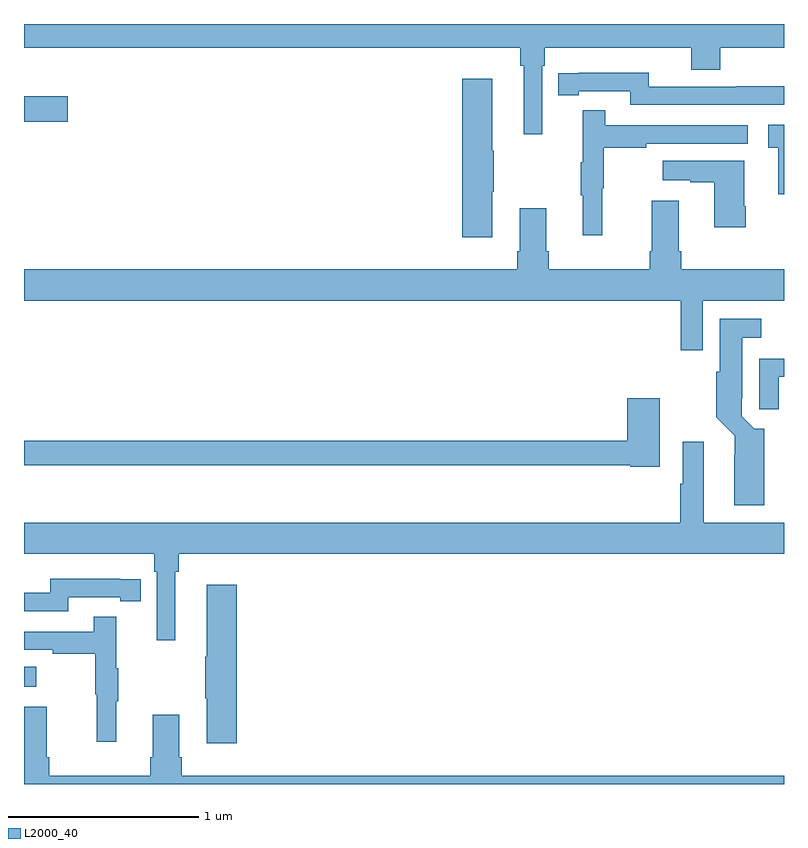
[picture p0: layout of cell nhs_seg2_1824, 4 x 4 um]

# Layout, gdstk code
import gdstk
lib = gdstk.Library(unit=1e-6, precision=1e-09)
def R(c, l, rs):  # rectangles x0, y0, x1, y1
    for r in rs: c.add(gdstk.rectangle(r[:2], r[2:], *l))
def P(c, l, *ps):  # polygons
    for p in ps: c.add(gdstk.Polygon(p, *l))
L2000_40 = (2000, 40)

nhs_seg2_1824 = lib.new_cell('nhs_seg2_1824')
R(nhs_seg2_1824, L2000_40, [(207,604.313,207.064,604.417), (207,607.286,207.229,607.42)])
P(nhs_seg2_1824, L2000_40, [(209.727,607.58),(209.741,607.58),(209.741,607.676),(210.512,607.676),(210.512,607.559),(210.665,607.559),(210.665,607.676),(211,607.676),(211,607.8),(207,607.8),(207,607.676),(209.611,607.676),(209.611,607.58),(209.63,607.58),(209.63,607.221),(209.727,607.221)],
  [(211,607.472),(210.748,607.472),(210.748,607.47),(210.288,607.47),(210.288,607.543),(209.92,607.543),(209.92,607.542),(209.812,607.542),(209.812,607.426),(209.92,607.426),(209.92,607.446),(210.192,607.446),(210.192,607.374),(211,607.374)],
  [(209.464,606.916),(209.472,606.916),(209.472,607.133),(209.464,607.133),(209.464,607.513),(209.306,607.513),(209.306,606.678),(209.464,606.678)],
  [(210.044,606.936),(210.052,606.936),(210.052,607.15),(210.275,607.15),(210.275,607.17),(210.808,607.17),(210.808,607.266),(210.059,607.266),(210.059,607.345),(209.942,607.345),(209.942,607.073),(209.931,607.073),(209.931,606.899),(209.942,606.899),(209.942,606.687),(210.044,606.687)],
  [(211,607.27),(210.918,607.27),(210.918,607.149),(210.971,607.149),(210.971,606.903),(211,606.903)],
  [(210.798,606.841),(210.79,606.841),(210.79,607.081),(210.363,607.081),(210.363,606.977),(210.506,606.977),(210.506,606.967),(210.632,606.967),(210.632,606.729),(210.798,606.729)],
  [(210.573,606.344),(211,606.344),(211,606.508),(210.458,606.508),(210.458,606.604),(210.445,606.604),(210.445,606.871),(210.305,606.871),(210.305,606.604),(210.293,606.604),(210.293,606.508),(209.762,606.508),(209.762,606.604),(209.749,606.604),(209.749,606.829),(209.609,606.829),(209.609,606.604),(209.597,606.604),(209.597,606.508),(207,606.508),(207,606.344),(210.457,606.344),(210.457,606.084),(210.573,606.084)],
  [(210.895,605.67),(210.843,605.67),(210.777,605.736),(210.777,605.83),(210.781,605.83),(210.781,606.149),(210.88,606.149),(210.88,606.25),(210.662,606.25),(210.662,605.97),(210.644,605.97),(210.644,605.729),(210.741,605.632),(210.741,605.534),(210.737,605.534),(210.737,605.267),(210.895,605.267)],
  [(210.973,605.943),(211,605.943),(211,606.039),(210.869,606.039),(210.869,605.772),(210.973,605.772)],
  [(210.346,605.83),(210.176,605.83),(210.176,605.606),(207,605.606),(207,605.478),(210.192,605.478),(210.192,605.47),(210.346,605.47)],
  [(207.796,604.916),(207.815,604.916),(207.815,605.012),(211,605.012),(211,605.176),(210.577,605.176),(210.577,605.602),(210.467,605.602),(210.467,605.381),(210.455,605.381),(210.455,605.176),(207,605.176),(207,605.012),(207.686,605.012),(207.686,604.916),(207.699,604.916),(207.699,604.557),(207.796,604.557)],
  [(207.234,604.782),(207.506,604.782),(207.506,604.762),(207.614,604.762),(207.614,604.878),(207.506,604.878),(207.506,604.879),(207.138,604.879),(207.138,604.806),(207,604.806),(207,604.71),(207.234,604.71)],
  [(208.121,604.849),(207.962,604.849),(207.962,604.469),(207.955,604.469),(207.955,604.252),(207.962,604.252),(207.962,604.014),(208.121,604.014)],
  [(207.485,604.235),(207.496,604.235),(207.496,604.409),(207.485,604.409),(207.485,604.681),(207.367,604.681),(207.367,604.602),(207,604.602),(207,604.506),(207.151,604.506),(207.151,604.486),(207.375,604.486),(207.375,604.272),(207.382,604.272),(207.382,604.023),(207.485,604.023)],
  [(211,603.844),(207.83,603.844),(207.83,603.94),(207.817,603.94),(207.817,604.165),(207.677,604.165),(207.677,603.94),(207.665,603.94),(207.665,603.844),(207.134,603.844),(207.134,603.94),(207.121,603.94),(207.121,604.207),(207,604.207),(207,603.8),(211,603.8)])

lib.write_gds('nhs_seg2_1824.gds')
